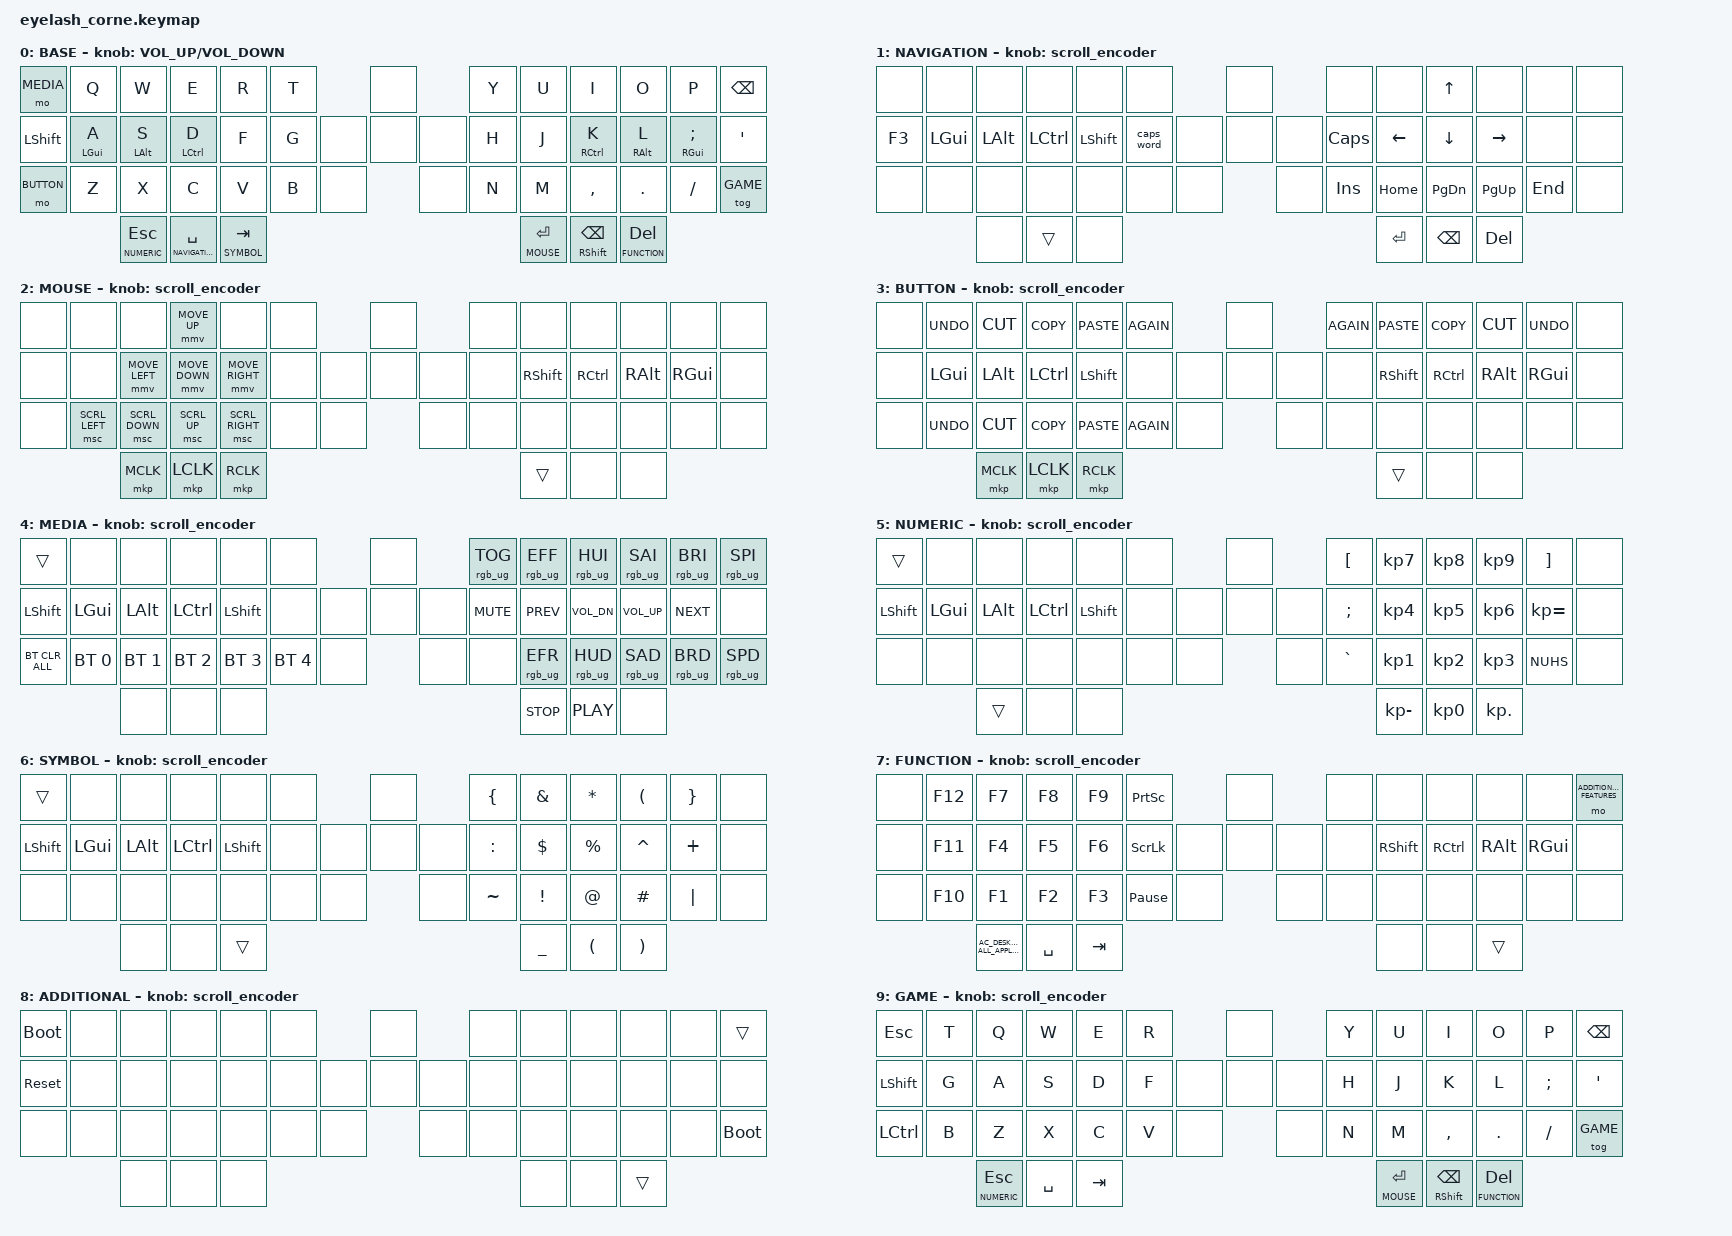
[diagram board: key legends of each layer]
#define ZMK_POINTING_DEFAULT_MOVE_VAL 1200  // 600
#define ZMK_POINTING_DEFAULT_SCRL_VAL 25   // 10

#define BASE 0
#define NAVIGATION 1
#define MOUSE 2
#define BUTTON 3
#define MEDIA 4
#define NUMERIC 5
#define SYMBOL 6
#define FUNCTION 7
#define ADDITIONAL_FEATURES 8
#define GAME 9

#include <input/processors.dtsi>
#include <zephyr/dt-bindings/input/input-event-codes.h>
#include <behaviors.dtsi>
#include <dt-bindings/zmk/bt.h>
#include <dt-bindings/zmk/keys.h>
#include <dt-bindings/zmk/outputs.h>
#include <dt-bindings/zmk/pointing.h>
#include <dt-bindings/zmk/rgb.h>
#include <dt-bindings/zmk/behaviors.h>

&mmv_input_listener { input-processors = <&zip_xy_scaler 2 1>; };

&msc_input_listener { input-processors = <&zip_scroll_scaler 2 1>; };

&msc {
    acceleration-exponent = <1>;      // 0
    time-to-max-speed-ms = <100>;     // 300
    delay-ms = <0>;                   // 0
};

&mmv {
    time-to-max-speed-ms = <500>;
    acceleration-exponent = <1>;
    trigger-period-ms = <16>;
};

&mt {
    tapping-term-ms = <170>;
    quick-tap-ms = <150>;
    flavor = "tap-preferred";
};

&lt {
    tapping-term-ms = <170>;
    quick-tap-ms = <150>;
    flavor = "tap-preferred";
};

/ {
    behaviors {
        td0: td0 {
            compatible = "zmk,behavior-tap-dance";
            display-name = "Shift/Caps Lock Tap Dance";
            #binding-cells = <0>;
            bindings = <&kp LEFT_SHIFT>, <&kp CAPS>;
        };

        // This behavior is for MT(RSHFT,KC_BSPC).
        // It has a specific tapping-term and permissive-hold enabled.
        mt_quick: my_mod_tap_quick {
            compatible = "zmk,behavior-hold-tap";
            #binding-cells = <2>;
            flavor = "balanced";    // Like PERMISSIVE_HOLD
            tapping-term-ms = <130>; // Equivalent to TAPPING_TERM - 40 (assuming TAPPING_TERM is 170ms)
            quick-tap-ms = <150>;
            bindings = <&kp>, <&kp>;
            display-name = "MT_QUICK";
        };

        // This behavior is for the LT() keys.
        // It only has permissive-hold enabled.
        lt_ph: my_layer_tap_permissive_hold {
            compatible = "zmk,behavior-hold-tap";
            #binding-cells = <2>;
            flavor = "balanced";    // Like PERMISSIVE HOLD
            tapping-term-ms = <170>;
            bindings = <&mo>, <&kp>;
            display-name = "LT_PERM_HOLD";
        };

        // If a hold-tap is pressed within require-prior-idle-ms of another non-modifier key (not behavior), 
        // then the hold-tap will always resolve in a tap. This effectively disables the hold-tap when typing quickly,
        // which can be quite useful for home-row mods. 
        // It can also have the effect of removing the input delay when typing quickly, since the hold-tap immediately resolves to a tap on key press.
        rpi: require_prior_idle {
            compatible = "zmk,behavior-hold-tap";
            #binding-cells = <2>;
            flavor = "tap-preferred";
            tapping-term-ms = <170>;
            quick-tap-ms = <200>;
            require-prior-idle-ms = <125>;
            bindings = <&kp>, <&kp>;
        };
    };

    rgb_encoder: rgb_encoder {
        compatible = "zmk,behavior-sensor-rotate";
        #sensor-binding-cells = <0>;
        bindings = <&rgb_ug RGB_BRI>, <&rgb_ug RGB_BRD>;
    };

    scroll_encoder: scroll_encoder {
        compatible = "zmk,behavior-sensor-rotate";
        #sensor-binding-cells = <0>;
        bindings = <&msc SCRL_DOWN>, <&msc SCRL_UP>;

        tap-ms = <100>;
    };

    keymap {
        compatible = "zmk,keymap";

        default_layer {
            display-name = "BASE";
            bindings = <
&mo MEDIA  &kp Q        &kp W       &kp E           &kp R  &kp T                               &none             &kp Y        &kp U     &kp I           &kp O       &kp P             &kp BSPC
&kp LSHFT  &rpi LGUI A  &rpi LALT S &rpi LCTRL D    &kp F  &kp G                        &none  &none  &none      &kp H        &kp J     &rpi RCTRL K    &rpi RALT L &rpi RGUI SEMI    &kp SQT
&mo BUTTON &kp Z        &kp X       &kp C           &kp V  &kp B        &none                  &none             &kp N        &kp M     &kp COMMA       &kp DOT     &kp FSLH          &tog GAME
                        &lt_ph NUMERIC ESC  &lt NAVIGATION SPACE  &lt_ph SYMBOL TAB                          &lt MOUSE ENTER  &mt_quick RSHFT BSPC  &lt FUNCTION DEL
            >;

             sensor-bindings = <&inc_dec_kp C_VOLUME_UP C_VOLUME_DOWN>;
        };

        navigation_layer {
            display-name = "NAVIGATION";
            bindings = <
&none  &none      &none      &none      &none      &none                                   &none            &none         &none     &kp UP      &none      &none    &none
&kp F3 &kp LGUI   &kp LALT   &kp LCTRL  &kp LSHFT  &caps_word                       &none  &none  &none     &kp CAPS      &kp LEFT  &kp DOWN    &kp RIGHT  &none    &none
&none  &none      &none      &none      &none      &none            &none                  &none            &kp INS       &kp HOME  &kp PG_DN   &kp PG_UP  &kp END  &none
                             &none      &trans     &none                                                    &kp ENTER     &kp BSPC  &kp DEL
            >;

            sensor-bindings = <&scroll_encoder>;
        };

        mouse_layer {
            display-name = "MOUSE";
            bindings = <
&none   &none           &none           &mmv MOVE_UP    &none           &none                    &none         &none      &none      &none      &none     &none     &none
&none   &none           &mmv MOVE_LEFT  &mmv MOVE_DOWN  &mmv MOVE_RIGHT &none             &none  &none  &none  &none      &kp RSHFT  &kp RCTRL  &kp RALT  &kp RGUI  &none
&none   &msc SCRL_LEFT  &msc SCRL_DOWN  &msc SCRL_UP    &msc SCRL_RIGHT &none    &none           &none         &none      &none      &none      &none     &none     &none
                                        &mkp MCLK       &mkp LCLK       &mkp RCLK                              &trans     &none      &none
            >;

            sensor-bindings = <&scroll_encoder>;
        };

        button_layer {
            display-name = "BUTTON";
            bindings = <
&none   &kp K_UNDO  &kp K_CUT   &kp K_COPY  &kp K_PASTE &kp K_AGAIN                            &none             &kp K_AGAIN    &kp K_PASTE     &kp K_COPY  &kp K_CUT   &kp K_UNDO  &none
&none   &kp LGUI    &kp LALT    &kp LCTRL   &kp LSHFT   &none                           &none  &none  &none      &none          &kp RSHFT       &kp RCTRL   &kp RALT    &kp RGUI    &none
&none   &kp K_UNDO  &kp K_CUT   &kp K_COPY  &kp K_PASTE &kp K_AGAIN         &none              &none             &none          &none           &none       &none       &none       &none
                                &mkp MCLK   &mkp LCLK   &mkp RCLK                                                &trans         &none           &none
            >;

            sensor-bindings = <&scroll_encoder>;
        };

        media_layer {
            display-name = "MEDIA";
            bindings = <
&trans          &none           &none           &none           &none           &none                            &none             &rgb_ug RGB_TOG  &rgb_ug RGB_EFF &rgb_ug RGB_HUI &rgb_ug RGB_SAI   &rgb_ug RGB_BRI  &rgb_ug RGB_SPI
&kp LSHFT       &kp LGUI        &kp LALT        &kp LCTRL       &kp LSHFT       &none                     &none  &none  &none      &kp C_MUTE       &kp C_PREV      &kp C_VOL_DN    &kp C_VOL_UP      &kp C_NEXT       &none
&bt BT_CLR_ALL  &bt BT_SEL 0    &bt BT_SEL 1    &bt BT_SEL 2    &bt BT_SEL 3    &bt BT_SEL 4  &none              &none             &none            &rgb_ug RGB_EFR &rgb_ug RGB_HUD &rgb_ug RGB_SAD   &rgb_ug RGB_BRD  &rgb_ug RGB_SPD
                                                &none           &none           &none                                              &kp C_STOP       &kp C_PLAY      &none
            >;

            sensor-bindings = <&scroll_encoder>;
        };

        numeric_layer {
            display-name = "NUMERIC";
            bindings = <
&trans      &none       &none       &none       &none       &none                            &none             &kp LBKT         &kp KP_N7   &kp KP_N8   &kp KP_N9   &kp RBKT        &none
&kp LSHFT   &kp LGUI    &kp LALT    &kp LCTRL   &kp LSHFT   &none                     &none  &none  &none      &kp SEMI         &kp KP_N4   &kp KP_N5   &kp KP_N6   &kp KP_EQUAL    &none
&none       &none       &none       &none       &none       &none         &none              &none             &kp GRAVE        &kp KP_N1   &kp KP_N2   &kp KP_N3   &kp NUHS        &none
                                    &trans      &none       &none                                              &kp KP_MINUS     &kp KP_N0   &kp KP_DOT
            >;

            sensor-bindings = <&scroll_encoder>;
        };

        symbol_layer {
            display-name = "SYMBOL";
            bindings = <
&trans      &none       &none       &none       &none       &none                            &none             &kp LBRC         &kp AMPS    &kp ASTRK   &kp LPAR    &kp RBRC        &none
&kp LSHFT   &kp LGUI    &kp LALT    &kp LCTRL   &kp LSHFT   &none                     &none  &none  &none      &kp COLON        &kp DLLR    &kp PRCNT   &kp CARET   &kp PLUS        &none
&none       &none       &none       &none       &none       &none         &none              &none             &kp TILDE        &kp EXCL    &kp AT      &kp HASH    &kp PIPE        &none
                                    &none       &none       &trans                                             &kp UNDER        &kp LPAR    &kp RPAR
            >;

            sensor-bindings = <&scroll_encoder>;
        };

        function_layer {
            display-name = "FUNCTION";
            bindings = <
&none   &kp F12     &kp F7      &kp F8      &kp F9      &kp PRINTSCREEN                   &none         &none      &none      &none      &none     &none     &mo ADDITIONAL_FEATURES
&none   &kp F11     &kp F4      &kp F5      &kp F6      &kp SCROLLLOCK             &none  &none  &none  &none      &kp RSHFT  &kp RCTRL  &kp RALT  &kp RGUI  &none
&none   &kp F10     &kp F1      &kp F2      &kp F3      &kp PAUSE_BREAK   &none           &none         &none      &none      &none      &none     &none     &none
    &kp C_AC_DESKTOP_SHOW_ALL_APPLICATIONS  &kp SPACE   &kp TAB                                         &none      &none      &trans
            >;

            sensor-bindings = <&scroll_encoder>;
        };

        additional_layer {
            display-name = "ADDITIONAL";
            bindings = <
&bootloader &none       &none       &none       &none       &none                            &none             &none       &none       &none       &none       &none        &trans
&sys_reset  &none       &none       &none       &none       &none                     &none  &none  &none      &none       &none       &none       &none       &none        &none
&none       &none       &none       &none       &none       &none         &none              &none             &none       &none       &none       &none       &none        &bootloader
                                    &none       &none       &none                                              &none       &none       &trans
            >;

            sensor-bindings = <&scroll_encoder>;
        };

        game_layer {
            display-name = "GAME";
            bindings = <
&kp ESC    &kp T        &kp Q       &kp W       &kp E       &kp R                               &none             &kp Y        &kp U     &kp I       &kp O       &kp P           &kp BSPC
&kp LSHFT  &kp G        &kp A       &kp S       &kp D       &kp F                        &none  &none  &none      &kp H        &kp J     &kp K       &kp L       &kp SEMI        &kp SQT
&kp LCTRL  &kp B        &kp Z       &kp X       &kp C       &kp V         &none                 &none             &kp N        &kp M     &kp COMMA   &kp DOT     &kp FSLH        &tog GAME
                        &lt NUMERIC ESC         &kp SPACE   &kp TAB                                               &lt MOUSE ENTER  &mt RSHFT BSPC  &lt FUNCTION DEL
            >;

             sensor-bindings = <&scroll_encoder>;           
        };
    };
};
